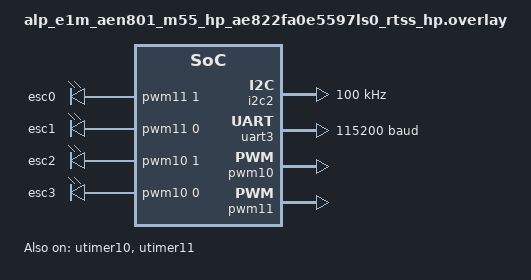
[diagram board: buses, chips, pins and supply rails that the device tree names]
/*
 * Copyright (c) 2026 Alp Lab AB
 * SPDX-License-Identifier: Apache-2.0
 *
 * E1M-AEN801 M55-HP overlay for drone-autopilot (#1383 item 2).
 *
 * WHY THIS FILE EXISTS: the same gap examples/peripheral-io/pwm-led-fade closed
 * for #1375 -- board.yaml's `peripherals:` list does NOT emit a DT alias
 * anywhere in the build (`tan build`'s CMakeLists.txt only calls
 * `alp_project.py --emit zephyr-conf`, never `--emit dts-overlay`), so nothing
 * wires an E1M pad to hardware on its own. Every portable backend resolves its
 * instance through an `alp-<class><N>` alias; with none defined the alias
 * expands to `{ .dev = NULL }` and the open returns ALP_ERR_NOT_READY. This
 * example had no `boards/` directory at all.
 *
 * ORDER MATTERS -- FIXING ONLY PWM WOULD HAVE MOVED THE FAILURE, NOT REMOVED
 * IT. autopilot_init() (src/autopilot.c) opens I2C0 at :105 and returns -1
 * there before it ever reaches the ESC loop at :143, so the observed bench
 * failure on the unpatched tree is
 *
 *     <err> autopilot: I2C0 open failed
 *     <err> drone_autopilot: autopilot_init failed -- staying in DISARMED
 *
 * and `ESC%d open failed` never prints. This overlay therefore wires the I2C
 * bus AND the ESC bank, in that dependency order.
 *
 * WHAT THIS OVERLAY DOES *NOT* MAKE WORK. It closes the devicetree-alias gap
 * only. autopilot_init() still returns -2 / -3 / -4 unless an LSM6DSO, a
 * BMP390 and an INA236 actually answer on the bus (:114-:122). On the E1M-EVK
 * only the INA236 is populated (metadata/boards/e1m-evk.yaml `ina236: true`,
 * six instances at 0x40..0x42 / 0x49..0x4B) -- and the one at 0x40 that
 * autopilot.c:118 targets is U21, the EVK's own +3V3 rail monitor (20 mOhm
 * shunt, 4.0 A max), not a flight battery; the example calibrates it for
 * 10 mOhm / 50 A (:119-:120), so it answers but scales wrong. The IMU,
 * barometer and GNSS are external parts the customer plugs into the EVK's
 * sensor header. No part of this has been run on silicon -- see the CHANGELOG
 * entry.
 *
 * ── I2C0: the sensor bus (fatal path) ────────────────────────────────────
 * The E1M edge "I2C0" signal is Alif I2C2 on this module, NOT the SoC's own
 * i2c0 block (which has no edge routing here):
 * metadata/e1m_modules/aen/from-alif.tsv rows AE2/AD2 --
 * "I2C0_SCL" -> I2C2_SCL_C -> P5_6, "I2C0_SDA" -> I2C2_SDA_C -> P5_7.
 * The pinctrl group is copied verbatim from
 * examples/aen/aen-i2c2-eeprom-regcheck, where the input-enable +
 * bias-pull-down pair is BENCH-VALIDATED on the E8 (2026-06-15). Do NOT
 * "correct" bias-pull-down to bias-pull-up: the upstream binding's pull naming
 * is effectively inverted vs the Alif pad HW and pull-up gives a DEAD bus.
 * `clock-frequency` here is the DT default only -- autopilot.c:107 opens with
 * `.bitrate_hz = 400000`, and src/backends/i2c/zephyr_drv.c turns that into
 * I2C_SPEED_FAST at i2c_configure() time. The bench note on the 100 kHz DT
 * value (aen-i2c2-eeprom-regcheck: "the on-module bus has no fast-mode margin
 * unless external pull-ups are stuffed") therefore applies to this example's
 * runtime request as well.
 *
 * ── PWM0..PWM3: the four ESC outputs (fatal path) ────────────────────────
 * From two sources that agree -- metadata/e1m_modules/aen/from-alif.tsv and
 * this repo's own PWM driver header (zephyr/drivers/pwm/pwm_alif_utimer.c:11-18,
 * which documents the E1M-PWM -> UTIMER/channel table for all eight pads):
 *
 *   E1M_PWM0 = UT11_T1_C (utimer11, driver B / channel 1) -> P12_7
 *   E1M_PWM1 = UT11_T0_C (utimer11, driver A / channel 0) -> P12_6
 *   E1M_PWM2 = UT10_T1_A (utimer10, driver B / channel 1) -> P2_5
 *   E1M_PWM3 = UT10_T0_A (utimer10, driver A / channel 0) -> P2_4
 *
 * utimer10/pwm10 and utimer11/pwm11 are already instantiated (disabled) for
 * both M55 cores in zephyr/dts/alif/ensemble_e8_peripherals.dtsi:990-1024; this
 * overlay enables them and points each pinctrl group at its pad. The `pwms`
 * cell period below is informational -- autopilot.c:145 passes an explicit
 * `.period_ns = 2500000` (400 Hz) and the backend prefers it
 * (src/backends/pwm/zephyr_drv.c:126: `h->period_ns = (cfg->period_ns != 0u) ?
 * cfg->period_ns : spec->period`).
 *
 * CARRIER REALITY CHECK: on the E1M-EVK these four pads are NOT ESC headers.
 * metadata/boards/e1m-evk.yaml `pwm:` maps E1M_PWM0 = EVK_PWM_LED_RED,
 * E1M_PWM1 = EVK_PWM_LED_BLUE, E1M_PWM3 = EVK_PWM_LED_GREEN (the RGB LED) and
 * E1M_PWM2 = EVK_ARD_PWM4 (Arduino header CK_PWM4). Running this example on an
 * EVK drives the RGB LED with ESC pulse-widths; a real airframe carrier routes
 * the same four E1M pads to its ESC connector, which is exactly the SoM-swap
 * portability contract.
 *
 * ── UART1: the SBUS RC receiver (non-fatal path) ─────────────────────────
 * E1M edge "UART1" is Alif UART3 on this module -- from-alif.tsv rows AG4/AH4
 * ("UART1_TX" -> UART3_TX_A -> P1_3, "UART1_RX" -> UART3_RX_A -> P1_2). On the
 * EVK that edge signal is EVK_UART_PORT_ARDUINO, the Arduino UNO header UART
 * on D0/D1 (metadata/boards/e1m-evk.yaml:178-180), which is free. autopilot.c
 * :132 opens it at 100000 baud for SBUS; note the source's own caveat at
 * :124-127 that SBUS is 100000/8E2 INVERTED and needs an external inverter --
 * this overlay cannot supply one.
 *
 * ── DELIBERATELY ABSENT: alp-uart0 ───────────────────────────────────────
 * E1M edge "UART0" is Alif UART5 (from-alif.tsv rows F2/G2: P3_5 TX_A / P3_4
 * RX_A), and on this board target UART5 is the CONSOLE:
 * zephyr/boards/alp/e1m_aen801_m55_hp/alp_e1m_aen801_m55_hp_ae822fa0e5597ls0_rtss_hp.dts
 * sets `zephyr,console = &uart5` and `zephyr,shell-uart = &uart5` at 115200,
 * with pinctrl_uart5 already declared in the generated board pinctrl dtsi.
 * Aliasing `alp-uart0 = &uart5` would make autopilot.c:128's GNSS open SUCCEED
 * and then reconfigure the live console down to 9600 8N1 -- destroying the very
 * LOG_ERR output this example is diagnosed by. The source already tolerates the
 * absence (`if (s_gps_uart) ublox_neo_m9n_init(...)`, :136 -- GNSS off, no
 * failure return), and src/mavlink.c:344 documents the underlying constraint:
 * "MAVLink GCS shares ALP_E1M_UART0 with the GNSS link -- route to a dedicated
 * UART before flight (no free third port in v0.5)." So the GNSS / MAVLink
 * telemetry paths stay DISABLED here by design; a flight-ready carrier needs a
 * third UART routed out, which is a hardware change, not an overlay one.
 *
 * ── DELIBERATELY ABSENT: alp_pins (GPIO) ─────────────────────────────────
 * board.yaml lists `gpio # Arming-switch input + status LED`, but no source
 * file under src/ contains the string "gpio" -- the example never calls
 * alp_gpio_open(), so an alp,pin-array here would back nothing.
 *
 * TRAP (see examples/aen/aen-pwm-utimer-pwmleds, examples/peripheral-io/
 * pwm-led-fade): each `alp-pwm<N>` alias must point at a `pwm-leds` CONSUMER
 * child, never a pwmN controller node directly -- DEVICE_DT_GET on the
 * controller triggers a phantom `pwmN_P_pwms_IDX_0` codegen reference because
 * the "alif,pwm" binding re-declares #pwm-cells.
 *
 * TRAP (numbering domains): the Zephyr node number and the E1M pad number are
 * NOT the same axis -- node `pwm10` backs E1M_PWM2 and E1M_PWM3, and `i2c2`
 * backs E1M_I2C0. Do not generalize pwm<N> -> alp-pwm<N> or i2c<N> ->
 * alp-i2c<N>; each E1M pad needs its own confirmed mapping.
 */
#include <zephyr/dt-bindings/pinctrl/alif-ensemble-pinctrl.h>
#include <zephyr/dt-bindings/pwm/pwm.h>
#include <zephyr/dt-bindings/i2c/i2c.h>

/ {
	esc_pwm_leds: pwm-leds {
		compatible = "pwm-leds";

		esc0: esc0 {
			label = "esc0";
			pwms  = <&pwm11 1 PWM_USEC(2500) PWM_POLARITY_NORMAL>;
		};

		esc1: esc1 {
			label = "esc1";
			pwms  = <&pwm11 0 PWM_USEC(2500) PWM_POLARITY_NORMAL>;
		};

		esc2: esc2 {
			label = "esc2";
			pwms  = <&pwm10 1 PWM_USEC(2500) PWM_POLARITY_NORMAL>;
		};

		esc3: esc3 {
			label = "esc3";
			pwms  = <&pwm10 0 PWM_USEC(2500) PWM_POLARITY_NORMAL>;
		};
	};

	aliases {
		alp-i2c0 = &i2c2;  /* ALP_E1M_I2C0  -- IMU + baro + INA236 (autopilot.c:106) */
		alp-uart1 = &uart3; /* ALP_E1M_UART1 -- SBUS RC receiver (autopilot.c:133) */
		alp-pwm0 = &esc0;  /* ESC0 / ALP_E1M_PWM0 */
		alp-pwm1 = &esc1;  /* ESC1 / ALP_E1M_PWM1 */
		alp-pwm2 = &esc2;  /* ESC2 / ALP_E1M_PWM2 */
		alp-pwm3 = &esc3;  /* ESC3 / ALP_E1M_PWM3 */
	};
};

&pinctrl {
	/* I2C2 master: SCL P5_6 / SDA P5_7 (_C). input-enable + bias-pull-down
	 * are the bench-validated pair -- see the header, do not "correct". */
	pinctrl_i2c2: pinctrl_i2c2 {
		group0 {
			pinmux = <PIN_P5_6__I2C2_SCL_C>, <PIN_P5_7__I2C2_SDA_C>;
			input-enable;
			bias-pull-down;
		};
	};

	/* UART3 = E1M edge UART1: RX P1_2 needs the pad receiver enabled,
	 * TX P1_3 is a plain output -- same split the generated board
	 * pinctrl dtsi uses for the UART5 console. */
	pinctrl_uart3: pinctrl_uart3 {
		group0 {
			pinmux = <PIN_P1_2__UART3_RX_A>;
			input-enable;
		};

		group1 {
			pinmux = <PIN_P1_3__UART3_TX_A>;
		};
	};

	pinctrl_pwm10: pinctrl_pwm10 {
		group0 {
			/* UT10_T0_A -> P2_4 = E1M_PWM3, UT10_T1_A -> P2_5 = E1M_PWM2. */
			pinmux = <PIN_P2_4__UT10_T0_A>, <PIN_P2_5__UT10_T1_A>;
		};
	};

	pinctrl_pwm11: pinctrl_pwm11 {
		group0 {
			/* UT11_T0_C -> P12_6 = E1M_PWM1, UT11_T1_C -> P12_7 = E1M_PWM0. */
			pinmux = <PIN_P12_6__UT11_T0_C>, <PIN_P12_7__UT11_T1_C>;
		};
	};
};

&i2c2 {
	status = "okay";
	pinctrl-0 = <&pinctrl_i2c2>;
	pinctrl-names = "default";
	/* DT default only; autopilot.c:107 requests 400 kHz at open time. */
	clock-frequency = <I2C_BITRATE_STANDARD>;
};

&uart3 {
	status = "okay";
	pinctrl-0 = <&pinctrl_uart3>;
	pinctrl-names = "default";
	/* DT default only; autopilot.c:134 requests 100000 baud at open time. */
	current-speed = <115200>;
};

&utimer10 {
	status = "okay";

	pwm10 {
		status = "okay";
		pinctrl-0 = <&pinctrl_pwm10>;
		pinctrl-names = "default";
	};
};

&utimer11 {
	status = "okay";

	pwm11 {
		status = "okay";
		pinctrl-0 = <&pinctrl_pwm11>;
		pinctrl-names = "default";
	};
};
